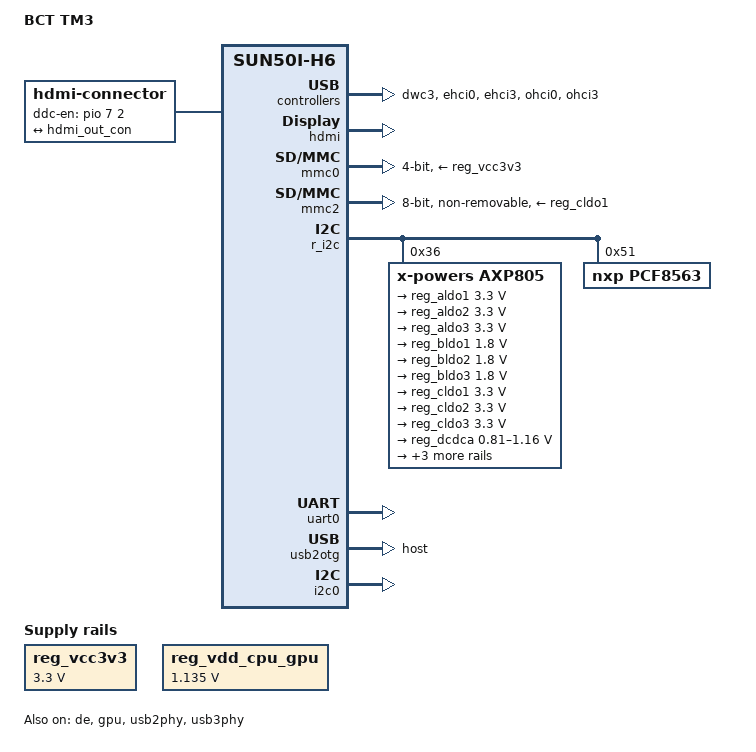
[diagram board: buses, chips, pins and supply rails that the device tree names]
// SPDX-License-Identifier: (GPL-2.0+ OR MIT)
// Copyright (c) 2019 Jernej Skrabec <jernej.skrabec@siol.net>

/dts-v1/;

#include "sun50i-h6.dtsi"
#include "sun50i-h6-cpu-opp.dtsi"

#include <dt-bindings/gpio/gpio.h>

/ {
	model = "BCT TM3";
	compatible = "bct,tm3", "allwinner,sun50i-h6";

	aliases {
		serial0 = &uart0;
	};

	chosen {
		stdout-path = "serial0:115200n8";
	};

	connector {
		compatible = "hdmi-connector";
		ddc-en-gpios = <&pio 7 2 GPIO_ACTIVE_HIGH>; /* PH2 */
		type = "a";

		port {
			hdmi_con_in: endpoint {
				remote-endpoint = <&hdmi_out_con>;
			};
		};
	};

	reg_vcc3v3: vcc3v3 {
		compatible = "regulator-fixed";
		regulator-name = "vcc3v3";
		regulator-min-microvolt = <3300000>;
		regulator-max-microvolt = <3300000>;
	};

	reg_vdd_cpu_gpu: vdd-cpu-gpu {
		compatible = "regulator-fixed";
		regulator-name = "vdd-cpu-gpu";
		regulator-min-microvolt = <1135000>;
		regulator-max-microvolt = <1135000>;
	};

	arisc {
		compatible = "arisc";
	};
};

&cpu0 {
	cpu-supply = <&reg_vdd_cpu_gpu>;
};

&de {
	status = "okay";
};

&dwc3 {
	status = "okay";
};

&ehci0 {
	status = "okay";
};

&ehci3 {
	status = "okay";
};

&gpu {
	mali-supply = <&reg_vdd_cpu_gpu>;
	status = "okay";
};

&hdmi {
	status = "okay";
};

&hdmi_out {
	hdmi_out_con: endpoint {
		remote-endpoint = <&hdmi_con_in>;
	};
};

&mmc0 {
	pinctrl-names = "default";
	pinctrl-0 = <&mmc0_pins>;
	vmmc-supply = <&reg_vcc3v3>;
	bus-width = <4>;
	status = "okay";
};

&mmc2 {
    vmmc-supply = <&reg_cldo1>;
    vqmmc-supply = <&reg_bldo2>;
    non-removable;
    cap-mmc-hw-reset;
    mmc-hs200-1_8v;
    bus-width = <8>;
    status = "okay";
};

&ohci0 {
	status = "okay";
};

&ohci3 {
	status = "okay";
};

&pio {
	vcc-pc-supply = <&reg_bldo2>;
	vcc-pd-supply = <&reg_cldo1>;
	vcc-pg-supply = <&reg_aldo1>;
};

&r_i2c {
	status = "okay";

	axp805: pmic@36 {
		compatible = "x-powers,axp805", "x-powers,axp806";
		reg = <0x36>;
		interrupt-parent = <&r_intc>;
		interrupts = <0 IRQ_TYPE_LEVEL_LOW>;
		interrupt-controller;
		#interrupt-cells = <1>;
		x-powers,self-working-mode;

		regulators {
			reg_aldo1: aldo1 {
				regulator-always-on;
				regulator-min-microvolt = <3300000>;
				regulator-max-microvolt = <3300000>;
				regulator-name = "vcc-usb";
			};

			reg_aldo2: aldo2 {
				regulator-min-microvolt = <3300000>;
				regulator-max-microvolt = <3300000>;
				regulator-name = "vcc-wifi";
				regulator-enable-ramp-delay = <100000>;
			};

			reg_aldo3: aldo3 {
				/* This regulator is connected with CLDO1 */
				regulator-always-on;
				regulator-min-microvolt = <3300000>;
				regulator-max-microvolt = <3300000>;
				regulator-name = "aldo3";
			};

			reg_bldo1: bldo1 {
				regulator-always-on;
				regulator-min-microvolt = <1800000>;
				regulator-max-microvolt = <1800000>;
				regulator-name = "bldo1";
			};

			reg_bldo2: bldo2 {
				regulator-always-on;
				regulator-min-microvolt = <1800000>;
				regulator-max-microvolt = <1800000>;
				regulator-name = "bldo2";
			};

			reg_bldo3: bldo3 {
				regulator-always-on;
				regulator-min-microvolt = <1800000>;
				regulator-max-microvolt = <1800000>;
				regulator-name = "bldo3";
			};

			bldo4 {
				/* unused */
			};

			reg_cldo1: cldo1 {
				/* This regulator is connected with ALDO3 */
				regulator-always-on;
				regulator-min-microvolt = <3300000>;
				regulator-max-microvolt = <3300000>;
				regulator-name = "cldo1";
			};

			reg_cldo2: cldo2 {
				regulator-min-microvolt = <3300000>;
				regulator-max-microvolt = <3300000>;
				regulator-name = "cldo2";
			};

			reg_cldo3: cldo3 {
				regulator-min-microvolt = <3300000>;
				regulator-max-microvolt = <3300000>;
				regulator-name = "cldo3";
			};

			reg_dcdca: dcdca {
				regulator-always-on;
				regulator-min-microvolt = <810000>;
				regulator-max-microvolt = <1160000>;
				regulator-ramp-delay = <2500>;
				regulator-name = "dcdca";
			};

			reg_dcdcc: dcdcc {
				regulator-enable-ramp-delay = <32000>;
				regulator-min-microvolt = <810000>;
				regulator-max-microvolt = <1080000>;
				regulator-ramp-delay = <2500>;
				regulator-name = "dcdcc";
			};

			reg_dcdcd: dcdcd {
				regulator-always-on;
				regulator-min-microvolt = <960000>;
				regulator-max-microvolt = <960000>;
				regulator-name = "dcdcd";
			};

			reg_dcdce: dcdce {
				regulator-always-on;
				regulator-min-microvolt = <1200000>;
				regulator-max-microvolt = <1200000>;
				regulator-name = "dcdce";
			};

			sw {
				/* unused */
			};
		};
	};

	pcf8563: rtc@51 {
		compatible = "nxp,pcf8563";
		reg = <0x51>;
		interrupt-parent = <&r_intc>;
		interrupts = <0 IRQ_TYPE_LEVEL_LOW>;
		#clock-cells = <0>;
	};
};

&uart0 {
	pinctrl-names = "default";
	pinctrl-0 = <&uart0_ph_pins>;
	status = "okay";
};

&usb2otg {
	dr_mode = "host";
	status = "okay";
};

&usb2phy {
	status = "okay";
};

&usb3phy {
	status = "okay";
};

&i2c0 {
	status = "okay";
};

